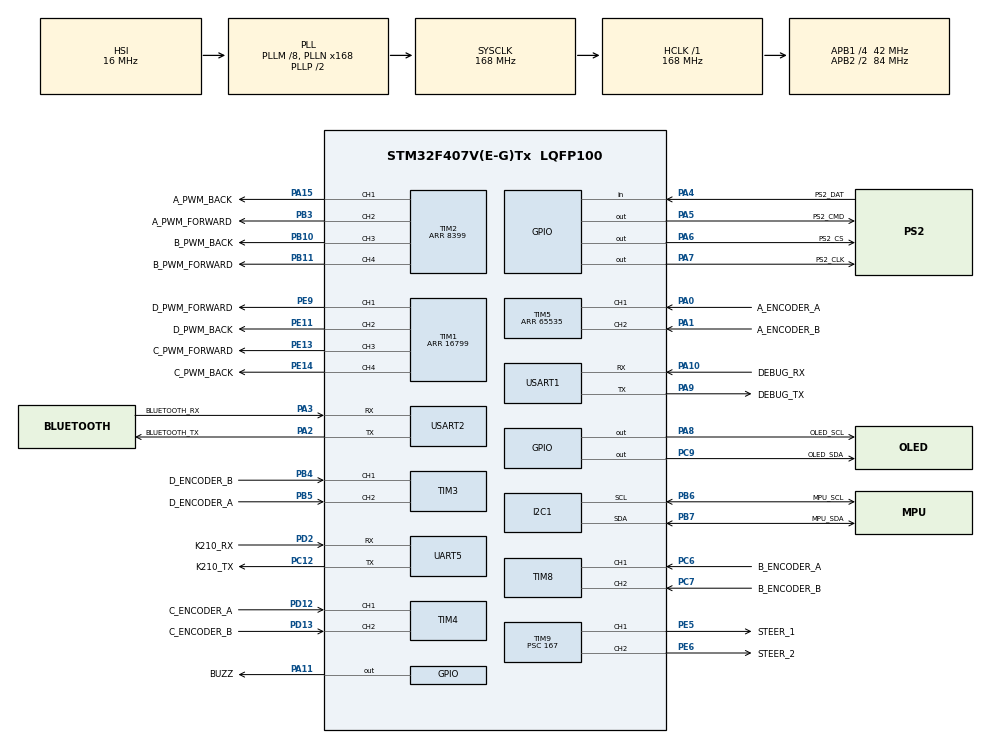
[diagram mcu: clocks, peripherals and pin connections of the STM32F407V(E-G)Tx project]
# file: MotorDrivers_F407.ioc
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Dma.Request0=USART2_RX
Dma.Request1=USART2_TX
Dma.Request2=UART5_RX
Dma.Request3=UART5_TX
Dma.Request4=USART1_RX
Dma.Request5=USART1_TX
Dma.UART5_RX.2.Direction=DMA_PERIPH_TO_MEMORY
Dma.UART5_RX.2.FIFOMode=DMA_FIFOMODE_DISABLE
Dma.UART5_RX.2.Instance=DMA1_Stream0
Dma.UART5_RX.2.MemDataAlignment=DMA_MDATAALIGN_BYTE
Dma.UART5_RX.2.MemInc=DMA_MINC_ENABLE
Dma.UART5_RX.2.Mode=DMA_NORMAL
Dma.UART5_RX.2.PeriphDataAlignment=DMA_PDATAALIGN_BYTE
Dma.UART5_RX.2.PeriphInc=DMA_PINC_DISABLE
Dma.UART5_RX.2.Priority=DMA_PRIORITY_LOW
Dma.UART5_TX.3.Direction=DMA_MEMORY_TO_PERIPH
Dma.UART5_TX.3.FIFOMode=DMA_FIFOMODE_DISABLE
Dma.UART5_TX.3.Instance=DMA1_Stream7
Dma.UART5_TX.3.MemDataAlignment=DMA_MDATAALIGN_BYTE
Dma.UART5_TX.3.MemInc=DMA_MINC_ENABLE
Dma.UART5_TX.3.Mode=DMA_NORMAL
Dma.UART5_TX.3.PeriphDataAlignment=DMA_PDATAALIGN_BYTE
Dma.UART5_TX.3.PeriphInc=DMA_PINC_DISABLE
Dma.UART5_TX.3.Priority=DMA_PRIORITY_LOW
Dma.USART1_RX.4.Direction=DMA_PERIPH_TO_MEMORY
Dma.USART1_RX.4.FIFOMode=DMA_FIFOMODE_ENABLE
Dma.USART1_RX.4.FIFOThreshold=DMA_FIFO_THRESHOLD_FULL
Dma.USART1_RX.4.Instance=DMA2_Stream2
Dma.USART1_RX.4.MemBurst=DMA_MBURST_SINGLE
Dma.USART1_RX.4.MemDataAlignment=DMA_MDATAALIGN_BYTE
Dma.USART1_RX.4.MemInc=DMA_MINC_ENABLE
Dma.USART1_RX.4.Mode=DMA_NORMAL
Dma.USART1_RX.4.PeriphBurst=DMA_PBURST_SINGLE
Dma.USART1_RX.4.PeriphDataAlignment=DMA_PDATAALIGN_BYTE
Dma.USART1_RX.4.PeriphInc=DMA_PINC_DISABLE
Dma.USART1_RX.4.Priority=DMA_PRIORITY_LOW
Dma.USART1_TX.5.Direction=DMA_MEMORY_TO_PERIPH
Dma.USART1_TX.5.FIFOMode=DMA_FIFOMODE_ENABLE
Dma.USART1_TX.5.FIFOThreshold=DMA_FIFO_THRESHOLD_FULL
Dma.USART1_TX.5.Instance=DMA2_Stream7
Dma.USART1_TX.5.MemBurst=DMA_MBURST_SINGLE
Dma.USART1_TX.5.MemDataAlignment=DMA_MDATAALIGN_BYTE
Dma.USART1_TX.5.MemInc=DMA_MINC_ENABLE
Dma.USART1_TX.5.Mode=DMA_NORMAL
Dma.USART1_TX.5.PeriphBurst=DMA_PBURST_SINGLE
Dma.USART1_TX.5.PeriphDataAlignment=DMA_PDATAALIGN_BYTE
Dma.USART1_TX.5.PeriphInc=DMA_PINC_DISABLE
Dma.USART1_TX.5.Priority=DMA_PRIORITY_LOW
Dma.USART2_RX.0.Direction=DMA_PERIPH_TO_MEMORY
Dma.USART2_RX.0.FIFOMode=DMA_FIFOMODE_DISABLE
Dma.USART2_RX.0.Instance=DMA1_Stream5
Dma.USART2_RX.0.MemDataAlignment=DMA_MDATAALIGN_BYTE
Dma.USART2_RX.0.MemInc=DMA_MINC_ENABLE
Dma.USART2_RX.0.Mode=DMA_NORMAL
Dma.USART2_RX.0.PeriphDataAlignment=DMA_PDATAALIGN_BYTE
Dma.USART2_RX.0.PeriphInc=DMA_PINC_DISABLE
Dma.USART2_RX.0.Priority=DMA_PRIORITY_LOW
Dma.USART2_TX.1.Direction=DMA_MEMORY_TO_PERIPH
Dma.USART2_TX.1.FIFOMode=DMA_FIFOMODE_DISABLE
Dma.USART2_TX.1.Instance=DMA1_Stream6
Dma.USART2_TX.1.MemDataAlignment=DMA_MDATAALIGN_BYTE
Dma.USART2_TX.1.MemInc=DMA_MINC_ENABLE
Dma.USART2_TX.1.Mode=DMA_NORMAL
Dma.USART2_TX.1.PeriphDataAlignment=DMA_PDATAALIGN_BYTE
Dma.USART2_TX.1.PeriphInc=DMA_PINC_DISABLE
Dma.USART2_TX.1.Priority=DMA_PRIORITY_LOW
Mcu.Family=STM32F4
Mcu.Name=STM32F407V(E-G)Tx
Mcu.Package=LQFP100
NVIC.DMA1_Stream0_IRQn=true\:0\:0\:false\:false\:true\:false\:true\:true
NVIC.DMA1_Stream5_IRQn=true\:0\:0\:false\:false\:true\:false\:true\:true
NVIC.DMA1_Stream6_IRQn=true\:0\:0\:false\:false\:true\:false\:true\:true
NVIC.DMA1_Stream7_IRQn=true\:0\:0\:false\:false\:true\:false\:true\:true
NVIC.DMA2_Stream2_IRQn=true\:0\:0\:false\:false\:true\:false\:true\:true
NVIC.DMA2_Stream7_IRQn=true\:0\:0\:false\:false\:true\:false\:true\:true
NVIC.PriorityGroup=NVIC_PRIORITYGROUP_4
NVIC.TIM8_TRG_COM_TIM14_IRQn=true\:0\:0\:false\:false\:true\:true\:true\:true
NVIC.UART5_IRQn=true\:0\:0\:false\:false\:true\:false\:true\:true
NVIC.USART1_IRQn=true\:0\:0\:false\:false\:true\:true\:true\:true
NVIC.USART2_IRQn=true\:0\:0\:false\:false\:true\:false\:true\:true
PA0-WKUP.GPIO_Label=A_ENCODER_A
PA0-WKUP.Signal=S_TIM5_CH1
PA1.GPIO_Label=A_ENCODER_B
PA1.Signal=S_TIM5_CH2
PA10.GPIO_Label=DEBUG_RX
PA10.Mode=Asynchronous
PA10.Signal=USART1_RX
PA11.GPIO_Label=BUZZ
PA11.GPIO_PuPd=GPIO_NOPULL
PA11.PinState=GPIO_PIN_SET
PA11.Signal=GPIO_Output
PA13.Mode=Serial_Wire
PA13.Signal=SYS_JTMS-SWDIO
PA14.Mode=Serial_Wire
PA14.Signal=SYS_JTCK-SWCLK
PA15.GPIO_Label=A_PWM_BACK
PA15.Signal=S_TIM2_CH1_ETR
PA2.GPIO_Label=BLUETOOTH_TX
PA2.Mode=Asynchronous
PA2.Signal=USART2_TX
PA3.GPIO_Label=BLUETOOTH_RX
PA3.Mode=Asynchronous
PA3.Signal=USART2_RX
PA4.GPIO_Label=PS2_DAT
PA4.Signal=GPIO_Input
PA5.GPIO_Label=PS2_CMD
PA5.Signal=GPIO_Output
PA6.GPIO_Label=PS2_CS
PA6.Signal=GPIO_Output
PA7.GPIO_Label=PS2_CLK
PA7.Signal=GPIO_Output
PA8.GPIO_Label=OLED_SCL
PA8.GPIO_ModeDefaultOutputPP=GPIO_MODE_OUTPUT_PP
PA8.GPIO_PuPd=GPIO_NOPULL
PA8.Signal=GPIO_Output
PA9.GPIO_Label=DEBUG_TX
PA9.Mode=Asynchronous
PA9.Signal=USART1_TX
PB10.GPIO_Label=B_PWM_BACK
PB10.Signal=S_TIM2_CH3
PB11.GPIO_Label=B_PWM_FORWARD
PB11.Signal=S_TIM2_CH4
PB3.GPIO_Label=A_PWM_FORWARD
PB3.Signal=S_TIM2_CH2
PB4.GPIO_Label=D_ENCODER_B
PB4.Signal=S_TIM3_CH1
PB5.GPIO_Label=D_ENCODER_A
PB5.Signal=S_TIM3_CH2
PB6.GPIO_Label=MPU_SCL
PB6.Mode=I2C
PB6.Signal=I2C1_SCL
PB7.GPIO_Label=MPU_SDA
PB7.Mode=I2C
PB7.Signal=I2C1_SDA
PC12.GPIO_Label=K210_TX
PC12.Mode=Asynchronous
PC12.Signal=UART5_TX
PC6.GPIO_Label=B_ENCODER_A
PC6.Signal=S_TIM8_CH1
PC7.GPIO_Label=B_ENCODER_B
PC7.Signal=S_TIM8_CH2
PC9.GPIO_Label=OLED_SDA
PC9.GPIO_ModeDefaultOutputPP=GPIO_MODE_OUTPUT_PP
PC9.GPIO_PuPd=GPIO_NOPULL
PC9.Signal=GPIO_Output
PD12.GPIO_Label=C_ENCODER_A
PD12.Signal=S_TIM4_CH1
PD13.GPIO_Label=C_ENCODER_B
PD13.Signal=S_TIM4_CH2
PD2.GPIO_Label=K210_RX
PD2.Mode=Asynchronous
PD2.Signal=UART5_RX
PE11.GPIO_Label=D_PWM_BACK
PE11.Signal=S_TIM1_CH2
PE13.GPIO_Label=C_PWM_FORWARD
PE13.Signal=S_TIM1_CH3
PE14.GPIO_Label=C_PWM_BACK
PE14.Signal=S_TIM1_CH4
PE5.GPIO_Label=STEER_1
PE5.Signal=S_TIM9_CH1
PE6.GPIO_Label=STEER_2
PE6.Signal=S_TIM9_CH2
PE9.GPIO_Label=D_PWM_FORWARD
PE9.Signal=S_TIM1_CH1
PH0-OSC_IN.Mode=HSE-External-Oscillator
PH0-OSC_IN.Signal=RCC_OSC_IN
PH1-OSC_OUT.Mode=HSE-External-Oscillator
PH1-OSC_OUT.Signal=RCC_OSC_OUT
ProjectManager.HeapSize=0x200
ProjectManager.StackSize=0x400
ProjectManager.TargetToolchain=MDK-ARM V5.32
RCC.48MHZClocksFreq_Value=84000000
RCC.AHBFreq_Value=168000000
RCC.APB1CLKDivider=RCC_HCLK_DIV4
RCC.APB1Freq_Value=42000000
RCC.APB1TimFreq_Value=84000000
RCC.APB2CLKDivider=RCC_HCLK_DIV2
RCC.APB2Freq_Value=84000000
RCC.APB2TimFreq_Value=168000000
RCC.CortexFreq_Value=168000000
RCC.HCLKFreq_Value=168000000
RCC.HSE_VALUE=25000000
RCC.HSI_VALUE=16000000
RCC.LSE_VALUE=32768
RCC.PLLM=8
RCC.PLLN=168
RCC.SYSCLKFreq_VALUE=168000000
RCC.SYSCLKSource=RCC_SYSCLKSOURCE_PLLCLK
RCC.VCOOutputFreq_Value=336000000
SH.S_TIM1_CH1.0=TIM1_CH1,PWM Generation1 CH1
SH.S_TIM1_CH2.0=TIM1_CH2,PWM Generation2 CH2
SH.S_TIM1_CH3.0=TIM1_CH3,PWM Generation3 CH3
SH.S_TIM1_CH4.0=TIM1_CH4,PWM Generation4 CH4
SH.S_TIM2_CH1_ETR.0=TIM2_CH1,PWM Generation1 CH1
SH.S_TIM2_CH2.0=TIM2_CH2,PWM Generation2 CH2
SH.S_TIM2_CH3.0=TIM2_CH3,PWM Generation3 CH3
SH.S_TIM2_CH4.0=TIM2_CH4,PWM Generation4 CH4
SH.S_TIM3_CH1.0=TIM3_CH1,Encoder_Interface
SH.S_TIM3_CH2.0=TIM3_CH2,Encoder_Interface
SH.S_TIM4_CH1.0=TIM4_CH1,Encoder_Interface
SH.S_TIM4_CH2.0=TIM4_CH2,Encoder_Interface
SH.S_TIM5_CH1.0=TIM5_CH1,Encoder_Interface
SH.S_TIM5_CH2.0=TIM5_CH2,Encoder_Interface
SH.S_TIM8_CH1.0=TIM8_CH1,Encoder_Interface
SH.S_TIM8_CH2.0=TIM8_CH2,Encoder_Interface
SH.S_TIM9_CH1.0=TIM9_CH1,PWM Generation1 CH1
SH.S_TIM9_CH2.0=TIM9_CH2,PWM Generation2 CH2
TIM1.Channel-PWM\ Generation1\ CH1=TIM_CHANNEL_1
TIM1.Channel-PWM\ Generation2\ CH2=TIM_CHANNEL_2
TIM1.Channel-PWM\ Generation3\ CH3=TIM_CHANNEL_3
TIM1.Channel-PWM\ Generation4\ CH4=TIM_CHANNEL_4
TIM1.Period=16799
TIM14.Period=9999
TIM14.Prescaler=83
TIM2.Channel-PWM\ Generation1\ CH1=TIM_CHANNEL_1
TIM2.Channel-PWM\ Generation2\ CH2=TIM_CHANNEL_2
TIM2.Channel-PWM\ Generation3\ CH3=TIM_CHANNEL_3
TIM2.Channel-PWM\ Generation4\ CH4=TIM_CHANNEL_4
TIM2.Period=8399
TIM5.Period=65535
TIM9.Channel-PWM\ Generation1\ CH1=TIM_CHANNEL_1
TIM9.Channel-PWM\ Generation2\ CH2=TIM_CHANNEL_2
TIM9.Period=19999
TIM9.Prescaler=167
UART5.VirtualMode=Asynchronous
USART1.VirtualMode=VM_ASYNC
USART2.VirtualMode=VM_ASYNC
VP_TIM14_VS_ClockSourceINT.Mode=Enable_Timer
VP_TIM1_VS_ClockSourceINT.Mode=Internal
VP_TIM2_VS_ClockSourceINT.Mode=Internal
board=custom

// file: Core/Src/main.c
/* USER CODE BEGIN Header */
/**
  ******************************************************************************
  * @file           : main.c
  * @brief          : Main program body
  ******************************************************************************
  * @attention
  *
  * Copyright (c) 2025 STMicroelectronics.
  * All rights reserved.
  *
  * This software is licensed under terms that can be found in the LICENSE file
  * in the root directory of this software component.
  * If no LICENSE file comes with this software, it is provided AS-IS.
  *
  ******************************************************************************
  */
/* USER CODE END Header */
#include "main.h"
#include "dma.h"
#include "i2c.h"
#include "tim.h"
#include "usart.h"
#include "gpio.h"

/* USER CODE BEGIN Includes */

#include "Bluetooth.h"
#include "Debug_Tool.h"
#include "Chassis_Task.h"
#include "ax_delay.h"
#include "ax_ps2.h"
#include "Gimbal_Task.h"
#include "Cmd_Task.h"
#include "MG310.h"
#include "Mpu6050.h"
#include "Debug_Tool.h"
#include "OLED.h"
#include "Servo.h"

/* USER CODE END Includes */

/* USER CODE BEGIN PD */

#define SPEED_KP 2.0f
#define SPEED_KI 0.0f
#define SPEED_KD 0.0f

/* USER CODE END PD */

void SystemClock_Config(void);

int main(void) {

    /* MCU Configuration--------------------------------------------------------*/

    /* Reset of all peripherals, Initializes the Flash interface and the Systick. */
    HAL_Init();

    /* Configure the system clock */
    SystemClock_Config();

    /* Initialize all configured peripherals */
    MX_GPIO_Init();
    MX_DMA_Init();
    MX_I2C1_Init();
    MX_USART2_UART_Init();
    MX_TIM2_Init();
    MX_UART5_Init();
    MX_TIM14_Init();
    MX_TIM1_Init();
    MX_TIM3_Init();
    MX_TIM4_Init();
    MX_TIM5_Init();
    MX_TIM8_Init();
    MX_TIM9_Init();
    MX_USART1_UART_Init();
    /* USER CODE BEGIN 2 */

    MG310_Init();
    MG310_ChangePID(SPEED_KP, SPEED_KI, SPEED_KD);
    AX_DELAY_Init();
    MPU6050_Init();
    OLED_Init();
    Uart_Init();
    Servo_Init();

    /* USER CODE END 2 */

    /* Infinite loop */
    /* USER CODE BEGIN WHILE */
    while (1) {
        Cmd_Task();
        // Chassis_Task();
        Gimbal_Task();

        /* 以下是各个模块的调试输出， 取消注释即可使用，一次只能使用一个 */
        // Debug_Bluetooth();// 调试蓝牙数据输出
        // Debug_Chassis(); // 调试底盘数据输出
        // Debug_PID(); // 调试PID数据输出
        // Debug_Camera();// 调试摄像头数据输出
        // Debug_PS2(); // 调试PS2手柄数据输出

        /* USER CODE END WHILE */

    }
}

void SystemClock_Config(void) {
    RCC_OscInitTypeDef RCC_OscInitStruct = {0};
    RCC_ClkInitTypeDef RCC_ClkInitStruct = {0};

    /** Configure the main internal regulator output voltage
    */
    __HAL_RCC_PWR_CLK_ENABLE();
    __HAL_PWR_VOLTAGESCALING_CONFIG(PWR_REGULATOR_VOLTAGE_SCALE1);

    /** Initializes the RCC Oscillators according to the specified parameters
    * in the RCC_OscInitTypeDef structure.
    */
    RCC_OscInitStruct.OscillatorType = RCC_OSCILLATORTYPE_HSI;
    RCC_OscInitStruct.HSIState = RCC_HSI_ON;
    RCC_OscInitStruct.HSICalibrationValue = RCC_HSICALIBRATION_DEFAULT;
    RCC_OscInitStruct.PLL.PLLState = RCC_PLL_ON;
    RCC_OscInitStruct.PLL.PLLSource = RCC_PLLSOURCE_HSI;
    RCC_OscInitStruct.PLL.PLLM = 8;
    RCC_OscInitStruct.PLL.PLLN = 168;
    RCC_OscInitStruct.PLL.PLLP = RCC_PLLP_DIV2;
    RCC_OscInitStruct.PLL.PLLQ = 4;
    if (HAL_RCC_OscConfig(&RCC_OscInitStruct) != HAL_OK) {
        Error_Handler();
    }

    /** Initializes the CPU, AHB and APB buses clocks
    */
    RCC_ClkInitStruct.ClockType = RCC_CLOCKTYPE_HCLK | RCC_CLOCKTYPE_SYSCLK
                                  | RCC_CLOCKTYPE_PCLK1 | RCC_CLOCKTYPE_PCLK2;
    RCC_ClkInitStruct.SYSCLKSource = RCC_SYSCLKSOURCE_PLLCLK;
    RCC_ClkInitStruct.AHBCLKDivider = RCC_SYSCLK_DIV1;
    RCC_ClkInitStruct.APB1CLKDivider = RCC_HCLK_DIV4;
    RCC_ClkInitStruct.APB2CLKDivider = RCC_HCLK_DIV2;

    if (HAL_RCC_ClockConfig(&RCC_ClkInitStruct, FLASH_LATENCY_5) != HAL_OK) {
        Error_Handler();
    }
}

void Error_Handler(void) {
    __disable_irq();
    while (1) {
    }
}
